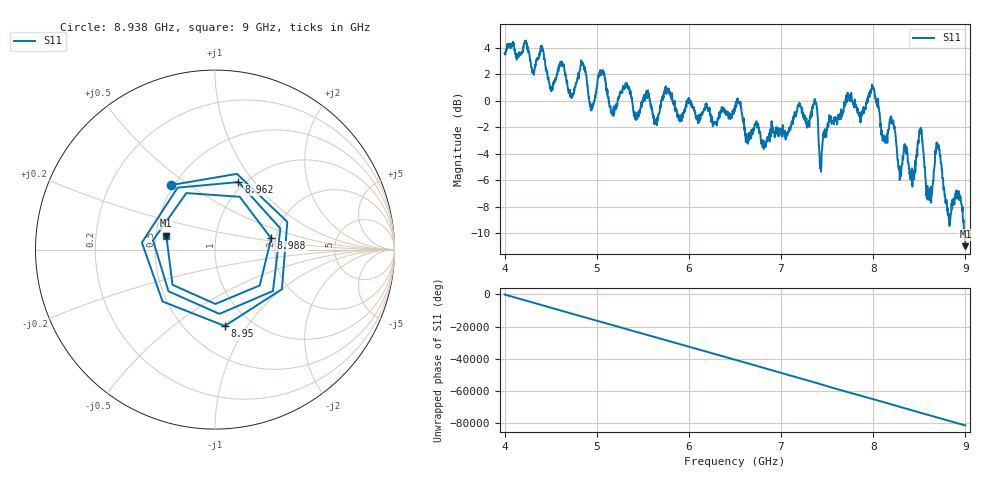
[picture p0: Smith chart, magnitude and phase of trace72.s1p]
! Created with skrf 1.8.0 (http://scikit-rf.org).
# Hz S RI R 50.0
!freq ReS11 ImS11
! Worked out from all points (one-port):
!   1601 points, 4 GHz to 9 GHz, reference 50 ohm
!   lowest |S11| = -11.0 dB at 9 GHz (marker M1), VSWR 1.79, Z = 28.4 + j4.73 ohm
!   |S11| at or under -10 dB: 8.991578 GHz to end of sweep
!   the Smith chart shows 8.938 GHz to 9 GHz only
!   S11 on the Smith chart (normalised r, x): 8.938 GHz: 0.48, +0.43; 8.95 GHz: 0.76, -0.79; 8.962 GHz: 0.94, +0.84; 8.988 GHz: 1.89, +0.26; 9 GHz: 0.57, +0.09
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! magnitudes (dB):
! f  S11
! 4 GHz  3.6
! 4.625 GHz  2.6
! 4.725 GHz  0.3
! 4.853 GHz  2.7
! 4.944 GHz  -0.7
! 5.047 GHz  1.9
! 5.162 GHz  -0.9
! 5.25 GHz  0.5
! 5.875 GHz  -1.2
! 6.5 GHz  -0.7
! 6.809 GHz  -3.0
! 7.125 GHz  -1.8
! 7.366 GHz  0.1
! 7.431 GHz  -4.7
! 7.75 GHz  0.0
! 8 GHz  0.9
! 8.112 GHz  -2.8
! 8.375 GHz  -4.6
! 8.438 GHz  -5.7
! 8.512 GHz  -2.2
! 8.597 GHz  -7.2
! 8.697 GHz  -3.4
! 8.816 GHz  -8.5
! 8.938 GHz  -7.2
! 8.95 GHz  -7.4
! 8.962 GHz  -8.0
! 8.988 GHz  -9.9
! 9 GHz  -11.0
